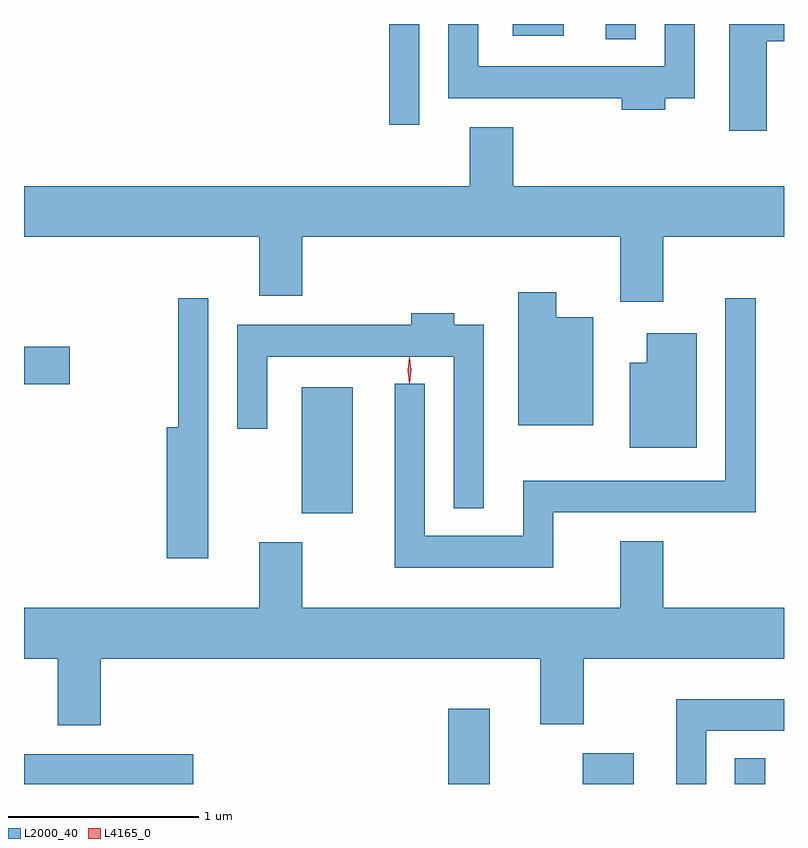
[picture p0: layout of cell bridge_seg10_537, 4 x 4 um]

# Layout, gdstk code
import gdstk
lib = gdstk.Library(unit=1e-6, precision=1e-09)
def R(c, l, rs):  # rectangles x0, y0, x1, y1
    for r in rs: c.add(gdstk.rectangle(r[:2], r[2:], *l))
def P(c, l, *ps):  # polygons
    for p in ps: c.add(gdstk.Polygon(p, *l))
L2000_40 = (2000, 40)
L4165_0 = (4165, 0)

bridge_seg10_537 = lib.new_cell('bridge_seg10_537')
R(bridge_seg10_537, L2000_40, [(766.214,2157.657,767.104,2157.814), (768.446,2157.657,768.664,2158.054), (769.156,2157.657,769.424,2157.819), (769.956,2157.657,770.114,2157.793), (767.676,2159.081,767.944,2159.744), (766.214,2159.761,766.454,2159.959), (768.136,2161.128,768.294,2161.657), (769.276,2161.578,769.434,2161.657), (768.786,2161.596,769.054,2161.657)])
P(bridge_seg10_537, L2000_40, [(769.589,2161.266),(769.744,2161.266),(769.744,2161.657),(769.586,2161.657),(769.586,2161.434),(768.604,2161.434),(768.604,2161.657),(768.446,2161.657),(768.446,2161.266),(769.361,2161.266),(769.361,2161.206),(769.589,2161.206)],
  [(770.124,2161.566),(770.214,2161.566),(770.214,2161.657),(769.926,2161.657),(769.926,2161.096),(770.124,2161.096)],
  [(769.579,2160.536),(770.214,2160.536),(770.214,2160.804),(768.789,2160.804),(768.789,2161.114),(768.561,2161.114),(768.561,2160.804),(766.214,2160.804),(766.214,2160.536),(767.451,2160.536),(767.451,2160.226),(767.679,2160.226),(767.679,2160.536),(769.351,2160.536),(769.351,2160.196),(769.579,2160.196)],
  [(769.209,2160.114),(769.014,2160.114),(769.014,2160.244),(768.816,2160.244),(768.816,2159.546),(769.209,2159.546)],
  [(767.184,2160.213),(767.026,2160.213),(767.026,2159.534),(766.966,2159.534),(766.966,2158.846),(767.184,2158.846)],
  [(768.999,2159.086),(770.064,2159.086),(770.064,2160.213),(769.906,2160.213),(769.906,2159.254),(768.841,2159.254),(768.841,2158.964),(768.324,2158.964),(768.324,2159.763),(768.166,2159.763),(768.166,2158.796),(768.999,2158.796)],
  [(768.634,2160.074),(768.479,2160.074),(768.479,2160.134),(768.251,2160.134),(768.251,2160.074),(767.336,2160.074),(767.336,2159.528),(767.494,2159.528),(767.494,2159.906),(768.476,2159.906),(768.476,2159.108),(768.634,2159.108)],
  [(769.754,2160.029),(769.491,2160.029),(769.491,2159.874),(769.401,2159.874),(769.401,2159.426),(769.754,2159.426)],
  [(766.619,2158.316),(768.931,2158.316),(768.931,2157.971),(769.159,2157.971),(769.159,2158.316),(770.214,2158.316),(770.214,2158.584),(769.579,2158.584),(769.579,2158.934),(769.351,2158.934),(769.351,2158.584),(767.679,2158.584),(767.679,2158.929),(767.451,2158.929),(767.451,2158.584),(766.214,2158.584),(766.214,2158.316),(766.391,2158.316),(766.391,2157.966),(766.619,2157.966)],
  [(769.804,2157.936),(770.214,2157.936),(770.214,2158.104),(769.646,2158.104),(769.646,2157.657),(769.804,2157.657)])
P(bridge_seg10_537, L4165_0, [(768.242,2159.764),(768.233,2159.833),(768.242,2159.902),(768.243,2159.903),(768.244,2159.902),(768.253,2159.833),(768.244,2159.764),(768.243,2159.764)],
  [(768.242,2159.767),(768.233,2159.834),(768.242,2159.9),(768.243,2159.9),(768.244,2159.9),(768.253,2159.834),(768.244,2159.767),(768.243,2159.767)])

lib.write_gds('bridge_seg10_537.gds')
